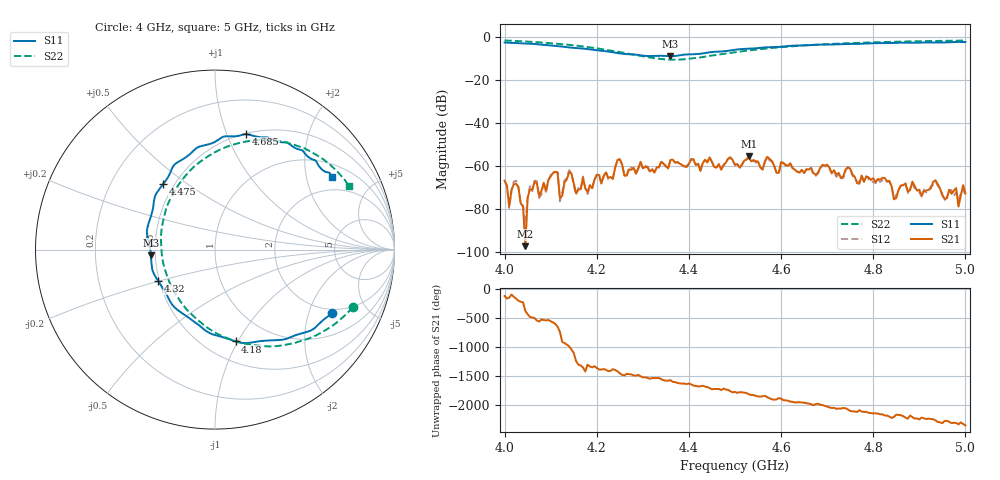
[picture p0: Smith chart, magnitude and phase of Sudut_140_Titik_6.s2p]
# Hz S RI R 50
! CMT, C1220, 16058040, 17.2.0/1
! Date: 15/08/2018 12:10:51
! Data: Format (Calibration Info)
! Freq  S11: Re/Im (F2)  S21: Re/Im (F2)  S12: Re/Im (F2)  S22: Re/Im (F2)
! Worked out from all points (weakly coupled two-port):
!   201 points, 4 GHz to 5 GHz, reference 50 ohm
!   highest |S21| = -55.31 dB at 4.53 GHz (marker M1); lowest = -97.4 dB at 4.045 GHz (marker M2)
!   lowest |S11| = -8.9 dB at 4.36 GHz (marker M3), VSWR 2.12, Z = 23.6 - j1.69 ohm
!   |S11| at or under -10 dB: nowhere
!   |S22| runs from -10.6 to -1.6 dB; largest |S21 - S12| = 0.00013
!   S11 on the Smith chart (normalised r, x): 4 GHz: 1.82, -2.89; 4.18 GHz: 0.69, -0.98; 4.32 GHz: 0.49, -0.20; 4.475 GHz: 0.44, +0.41; 4.685 GHz: 0.51, +1.17; 5 GHz: 1.46, +2.84
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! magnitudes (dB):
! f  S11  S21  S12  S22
! 4 GHz  -2.6  -66.8  -67.0  -1.6
! 4.01 GHz  -2.7  -78.9  -79.6  -1.7
! 4.025 GHz  -2.9  -68.2  -66.8  -1.9
! 4.045 GHz  -3.0  -97.4  -86.9  -2.1
! 4.065 GHz  -3.2  -67.4  -66.8  -2.3
! 4.115 GHz  -4.2  -63.0  -63.1  -3.1
! 4.12 GHz  -4.3  -74.9  -76.5  -3.2
! 4.14 GHz  -4.8  -62.9  -62.0  -3.6
! 4.155 GHz  -5.1  -72.6  -73.5  -4.0
! 4.17 GHz  -5.4  -65.5  -65.0  -4.4
! 4.18 GHz  -5.6  -72.3  -73.1  -4.7
! 4.245 GHz  -7.5  -57.2  -57.1  -6.8
! 4.32 GHz  -8.8  -61.7  -61.4  -9.7
! 4.335 GHz  -8.7  -60.5  -60.9  -10.1
! 4.36 GHz  -8.9  -57.2  -57.2  -10.5
! 4.475 GHz  -6.7  -59.6  -59.9  -7.8
! 4.5 GHz  -5.9  -59.5  -59.6  -7.1
! 4.53 GHz  -5.5  -55.3  -55.7  -6.2
! 4.67 GHz  -3.7  -63.4  -64.0  -3.7
! 4.685 GHz  -3.5  -60.8  -60.9  -3.5
! 4.835 GHz  -2.8  -67.0  -67.4  -2.3
! 5 GHz  -2.3  -72.7  -73.6  -1.6
